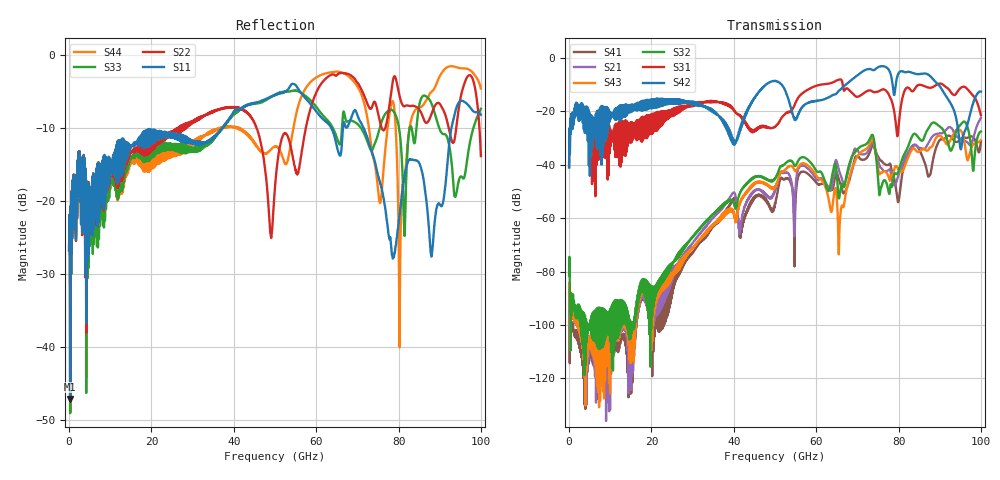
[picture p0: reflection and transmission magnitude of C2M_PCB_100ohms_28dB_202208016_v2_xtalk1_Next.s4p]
! Info: Touchstone file created by Circ.  Input file=Intel_C2M_200G_12p0in_202208016_staggered.circ
# Hz S RI R 50
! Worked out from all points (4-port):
!   10000 points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, 10 MHz to 100 GHz, reference 50 ohm
!   strongest paths, dB at 10 MHz, 25.01 GHz, 50.01 GHz, 75.01 GHz, 100 GHz:
!     S42: -40.9, -15.8, -8.6, -3.4, -12.6
!     S31: -41.0, -19.8, -25.6, -12.6, -21.4
!     S32: -81.3, -77.3, -45.0, -44.9, -27.5
!     S43: -85.9, -80.7, -48.0, -41.3, -30.8
!     S21: -86.2, -79.0, -49.5, -38.4, -22.5
!     S41: -87.9, -80.5, -54.4, -36.8, -31.5
!   lowest |S11| = -47.1 dB at 260 MHz (marker M1), VSWR 1.01, Z = 49.9 - j0.429 ohm
!   |S11| at or under -10 dB: start of sweep to 37.02 GHz; 63.74 GHz to 66.48 GHz (2.735 GHz wide, 4.2 % of centre); 71.55 GHz to 92.83 GHz (21.27 GHz wide, 25.9 % of centre)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
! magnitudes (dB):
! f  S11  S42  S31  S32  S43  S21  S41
! 10 MHz  -26.8  -40.9  -41.0  -81.3  -85.9  -86.2  -87.9
! 260 MHz  -47.1  -24.2  -24.3  -89.6  -95.5  -95.5  -99.8
! 65.66 GHz  -13.7  -12.1  -8.0  -51.9  -64.1  -42.6  -46.1
! 73.47 GHz  -13.3  -4.3  -12.3  -28.9  -30.7  -31.8  -33.3
! 76.03 GHz  -18.6  -3.0  -11.8  -47.3  -42.9  -41.6  -38.8
! 95.19 GHz  -6.2  -34.0  -11.1  -24.8  -27.3  -30.8  -30.1
! 100 GHz  -8.1  -12.6  -21.4  -27.5  -30.8  -22.5  -31.5
